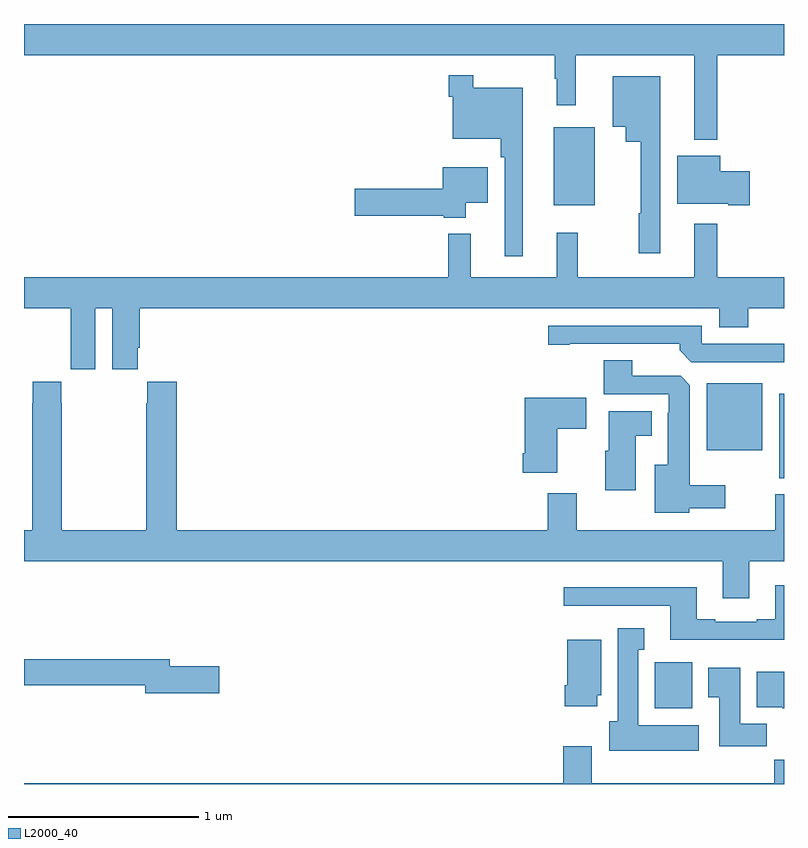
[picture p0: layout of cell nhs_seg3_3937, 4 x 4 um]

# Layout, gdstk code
import gdstk
lib = gdstk.Library(unit=1e-6, precision=1e-09)
def R(c, l, rs):  # rectangles x0, y0, x1, y1
    for r in rs: c.add(gdstk.rectangle(r[:2], r[2:], *l))
def P(c, l, *ps):  # polygons
    for p in ps: c.add(gdstk.Polygon(p, *l))
L2000_40 = (2000, 40)

nhs_seg3_3937 = lib.new_cell('nhs_seg3_3937')
R(nhs_seg3_3937, L2000_40, [(318.32,710.798,318.517,711.04), (318.974,712.01,319,712.453), (318.593,712.157,318.886,712.51), (317.789,713.447,318.004,713.857)])
P(nhs_seg3_3937, L2000_40, [(318.649,714.236),(319,714.236),(319,714.4),(315,714.4),(315,714.236),(317.793,714.236),(317.793,714.113),(317.804,714.113),(317.804,713.973),(317.903,713.973),(317.903,714.236),(318.527,714.236),(318.527,713.792),(318.649,713.792)],
  [(317.626,714.064),(317.365,714.064),(317.365,714.13),(317.236,714.13),(317.236,714.017),(317.256,714.017),(317.256,713.795),(317.509,713.795),(317.509,713.699),(317.529,713.699),(317.529,713.178),(317.626,713.178)],
  [(318.349,714.124),(318.098,714.124),(318.098,713.858),(318.167,713.858),(318.167,713.78),(318.245,713.78),(318.245,713.405),(318.235,713.405),(318.235,713.193),(318.349,713.193)],
  [(318.82,713.624),(318.664,713.624),(318.664,713.707),(318.437,713.707),(318.437,713.453),(318.707,713.453),(318.707,713.446),(318.82,713.446)],
  [(317.326,713.459),(317.44,713.459),(317.44,713.647),(317.204,713.647),(317.204,713.534),(316.74,713.534),(316.74,713.392),(317.208,713.392),(317.208,713.381),(317.326,713.381)],
  [(315.376,712.904),(315.464,712.904),(315.464,712.584),(315.598,712.584),(315.598,712.696),(315.608,712.696),(315.608,712.904),(318.659,712.904),(318.659,712.805),(318.812,712.805),(318.812,712.904),(319,712.904),(319,713.068),(318.649,713.068),(318.649,713.35),(318.527,713.35),(318.527,713.068),(317.914,713.068),(317.914,713.302),(317.804,713.302),(317.804,713.068),(317.351,713.068),(317.351,713.296),(317.233,713.296),(317.233,713.068),(315,713.068),(315,712.904),(315.245,712.904),(315.245,712.696),(315.246,712.696),(315.246,712.584),(315.376,712.584)],
  [(319,712.716),(318.567,712.716),(318.567,712.812),(317.76,712.812),(317.76,712.711),(317.872,712.711),(317.872,712.716),(318.452,712.716),(318.452,712.682),(318.513,712.62),(319,712.62)],
  [(318.501,711.851),(318.691,711.851),(318.691,711.973),(318.505,711.973),(318.505,712.499),(318.456,712.548),(318.202,712.548),(318.202,712.631),(318.05,712.631),(318.05,712.452),(318.393,712.452),(318.393,712.355),(318.389,712.355),(318.389,712.081),(318.32,712.081),(318.32,711.827),(318.501,711.827)],
  [(318.817,711.572),(319,711.572),(319,711.925),(318.953,711.925),(318.953,711.736),(317.908,711.736),(317.908,711.931),(317.756,711.931),(317.756,711.736),(315.803,711.736),(315.803,712.516),(315.649,712.516),(315.649,712.403),(315.643,712.403),(315.643,711.736),(315.198,711.736),(315.198,712.403),(315.195,712.403),(315.195,712.516),(315.045,712.516),(315.045,712.403),(315.043,712.403),(315.043,711.736),(315,711.736),(315,711.572),(318.677,711.572),(318.677,711.378),(318.817,711.378)],
  [(317.806,712.27),(317.959,712.27),(317.959,712.432),(317.636,712.432),(317.636,712.141),(317.624,712.141),(317.624,712.037),(317.806,712.037)],
  [(318.22,712.232),(318.304,712.232),(318.304,712.363),(318.077,712.363),(318.077,712.155),(318.059,712.155),(318.059,711.945),(318.22,711.945)],
  [(319,711.445),(318.953,711.445),(318.953,711.268),(318.857,711.268),(318.857,711.255),(318.637,711.255),(318.637,711.268),(318.541,711.268),(318.541,711.436),(317.841,711.436),(317.841,711.339),(318.401,711.339),(318.401,711.158),(319,711.158)],
  [(318.55,710.71),(318.232,710.71),(318.232,711.107),(318.265,711.107),(318.265,711.22),(318.125,711.22),(318.125,710.73),(318.08,710.73),(318.08,710.576),(318.55,710.576)],
  [(318.016,710.868),(318.037,710.868),(318.037,711.16),(317.858,711.16),(317.858,710.92),(317.846,710.92),(317.846,710.808),(318.016,710.808)],
  [(316.027,711.02),(315.766,711.02),(315.766,711.056),(315,711.056),(315,710.92),(315.638,710.92),(315.638,710.878),(316.027,710.878)],
  [(318.908,710.716),(318.769,710.716),(318.769,711.013),(318.602,711.013),(318.602,710.857),(318.659,710.857),(318.659,710.598),(318.908,710.598)],
  [(319,710.992),(318.857,710.992),(318.857,710.804),(318.99,710.804),(318.99,710.798),(319,710.798)],
  [(319,710.528),(318.949,710.528),(318.949,710.404),(317.989,710.404),(317.989,710.599),(317.837,710.599),(317.837,710.404),(315,710.404),(315,710.4),(319,710.4)])

lib.write_gds('nhs_seg3_3937.gds')
